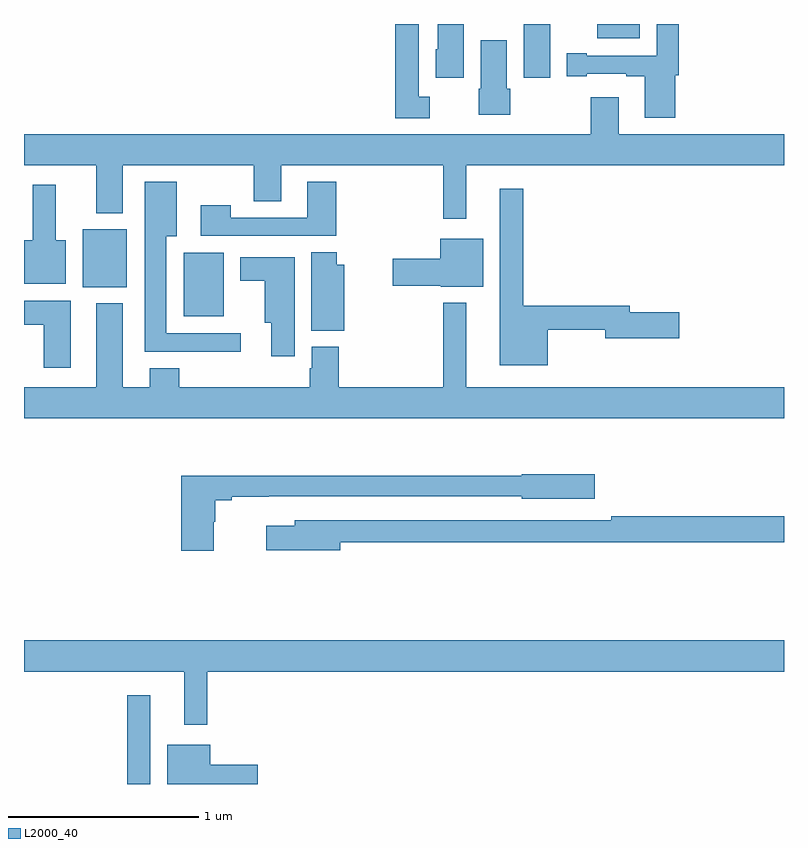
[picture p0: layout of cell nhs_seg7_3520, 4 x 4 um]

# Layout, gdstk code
import gdstk
lib = gdstk.Library(unit=1e-6, precision=1e-09)
def R(c, l, rs):  # rectangles x0, y0, x1, y1
    for r in rs: c.add(gdstk.rectangle(r[:2], r[2:], *l))
def P(c, l, *ps):  # polygons
    for p in ps: c.add(gdstk.Polygon(p, *l))
L2000_40 = (2000, 40)

nhs_seg7_3520 = lib.new_cell('nhs_seg7_3520')
R(nhs_seg7_3520, L2000_40, [(335.544,1024,335.665,1024.468), (335.84,1026.461,336.052,1026.796), (335.309,1026.614,335.542,1026.919), (337.631,1027.716,337.771,1028), (338.018,1027.925,338.242,1028)])
P(nhs_seg7_3520, L2000_40, [(337.315,1028),(337.178,1028),(337.178,1027.866),(337.166,1027.866),(337.166,1027.716),(337.315,1027.716)],
  [(337.135,1027.618),(337.078,1027.618),(337.078,1028),(336.953,1028),(336.953,1027.505),(337.135,1027.505)],
  [(338.428,1027.73),(338.447,1027.73),(338.447,1028),(338.331,1028),(338.331,1027.833),(337.963,1027.833),(337.963,1027.846),(337.856,1027.846),(337.856,1027.725),(337.963,1027.725),(337.963,1027.737),(338.171,1027.737),(338.171,1027.725),(338.267,1027.725),(338.267,1027.506),(338.428,1027.506)],
  [(337.56,1027.659),(337.54,1027.659),(337.54,1027.915),(337.403,1027.915),(337.403,1027.659),(337.394,1027.659),(337.394,1027.523),(337.56,1027.523)],
  [(337.327,1027.256),(339,1027.256),(339,1027.42),(338.131,1027.42),(338.131,1027.615),(337.984,1027.615),(337.984,1027.42),(335,1027.42),(335,1027.256),(335.381,1027.256),(335.381,1027.004),(335.521,1027.004),(335.521,1027.256),(336.208,1027.256),(336.208,1027.066),(336.355,1027.066),(336.355,1027.256),(337.206,1027.256),(337.206,1026.975),(337.327,1026.975)],
  [(336.644,1027.171),(336.491,1027.171),(336.491,1026.981),(336.087,1026.981),(336.087,1027.045),(335.931,1027.045),(335.931,1026.885),(336.644,1026.885)],
  [(336.142,1026.372),(335.749,1026.372),(335.749,1026.884),(335.803,1026.884),(335.803,1027.171),(335.636,1027.171),(335.636,1026.275),(336.142,1026.275)],
  [(335.221,1026.862),(335.167,1026.862),(335.167,1027.153),(335.045,1027.153),(335.045,1026.862),(335,1026.862),(335,1026.632),(335.221,1026.632)],
  [(337.756,1026.39),(338.06,1026.39),(338.06,1026.347),(338.449,1026.347),(338.449,1026.482),(338.188,1026.482),(338.188,1026.518),(337.627,1026.518),(337.627,1027.132),(337.505,1027.132),(337.505,1026.203),(337.756,1026.203)],
  [(337.417,1026.871),(337.19,1026.871),(337.19,1026.765),(336.942,1026.765),(336.942,1026.623),(337.194,1026.623),(337.194,1026.617),(337.417,1026.617)],
  [(336.685,1026.733),(336.646,1026.733),(336.646,1026.8),(336.512,1026.8),(336.512,1026.386),(336.685,1026.386)],
  [(336.424,1026.772),(336.137,1026.772),(336.137,1026.65),(336.266,1026.65),(336.266,1026.428),(336.302,1026.428),(336.302,1026.252),(336.424,1026.252)],
  [(335.245,1026.544),(335,1026.544),(335,1026.416),(335.105,1026.416),(335.105,1026.192),(335.245,1026.192)],
  [(339,1026.088),(337.327,1026.088),(337.327,1026.532),(337.206,1026.532),(337.206,1026.088),(336.656,1026.088),(336.656,1026.301),(336.515,1026.301),(336.515,1026.189),(336.503,1026.189),(336.503,1026.088),(335.816,1026.088),(335.816,1026.187),(335.663,1026.187),(335.663,1026.088),(335.521,1026.088),(335.521,1026.529),(335.381,1026.529),(335.381,1026.088),(335,1026.088),(335,1025.924),(339,1025.924)],
  [(335.998,1025.379),(336.006,1025.379),(336.006,1025.494),(336.094,1025.494),(336.094,1025.513),(336.288,1025.513),(336.288,1025.514),(337.62,1025.514),(337.62,1025.501),(338.005,1025.501),(338.005,1025.631),(337.62,1025.631),(337.62,1025.623),(335.828,1025.623),(335.828,1025.228),(335.998,1025.228)],
  [(336.664,1025.272),(339,1025.272),(339,1025.408),(338.092,1025.408),(338.092,1025.388),(336.425,1025.388),(336.425,1025.359),(336.276,1025.359),(336.276,1025.23),(336.664,1025.23)],
  [(335.965,1024.592),(339,1024.592),(339,1024.756),(335,1024.756),(335,1024.592),(335.843,1024.592),(335.843,1024.311),(335.965,1024.311)],
  [(336.229,1024.101),(335.98,1024.101),(335.98,1024.207),(335.753,1024.207),(335.753,1024),(336.229,1024)])

lib.write_gds('nhs_seg7_3520.gds')
